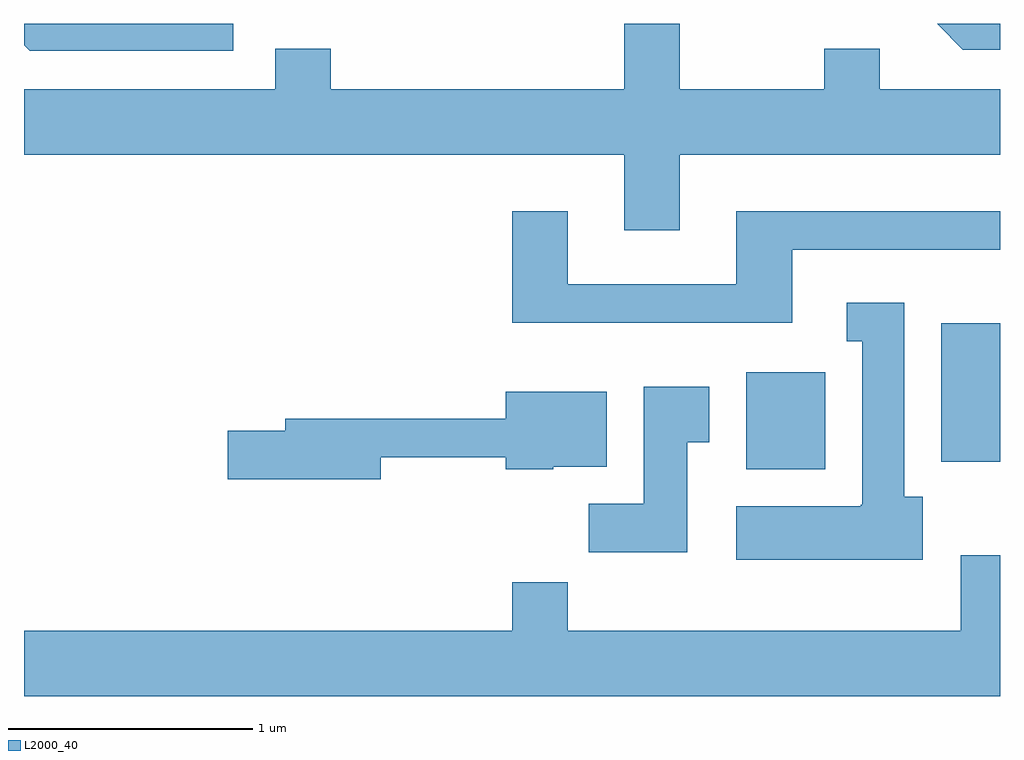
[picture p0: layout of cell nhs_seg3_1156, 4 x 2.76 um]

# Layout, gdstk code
import gdstk
lib = gdstk.Library(unit=1e-6, precision=1e-09)
def R(c, l, rs):  # rectangles x0, y0, x1, y1
    for r in rs: c.add(gdstk.rectangle(r[:2], r[2:], *l))
def P(c, l, *ps):  # polygons
    for p in ps: c.add(gdstk.Polygon(p, *l))
L2000_40 = (2000, 40)

nhs_seg3_1156 = lib.new_cell('nhs_seg3_1156')
R(nhs_seg3_1156, L2000_40, [(222.571,1118.066,222.894,1118.464), (223.371,1118.096,223.611,1118.664)])
P(nhs_seg3_1156, L2000_40, [(222.299,1119.356),(223.611,1119.356),(223.611,1119.624),(223.119,1119.624),(223.119,1119.789),(222.891,1119.789),(222.891,1119.624),(222.299,1119.624),(222.299,1119.892),(222.071,1119.892),(222.071,1119.624),(220.869,1119.624),(220.869,1119.789),(220.641,1119.789),(220.641,1119.624),(219.611,1119.624),(219.611,1119.356),(222.071,1119.356),(222.071,1119.046),(222.299,1119.046)],
  [(220.469,1119.892),(219.611,1119.892),(219.611,1119.804),(219.634,1119.781),(220.469,1119.781)],
  [(223.611,1119.892),(223.353,1119.892),(223.459,1119.786),(223.611,1119.786)],
  [(222.759,1118.966),(223.611,1118.966),(223.611,1119.124),(222.531,1119.124),(222.531,1118.824),(221.839,1118.824),(221.839,1119.124),(221.611,1119.124),(221.611,1118.666),(222.759,1118.666)],
  [(223.294,1117.954),(223.219,1117.954),(223.219,1118.749),(222.983,1118.749),(222.983,1118.591),(223.046,1118.591),(223.046,1117.92),(223.04,1117.92),(223.04,1117.914),(222.531,1117.914),(222.531,1117.696),(223.294,1117.696)],
  [(222.329,1118.176),(222.419,1118.176),(222.419,1118.404),(222.151,1118.404),(222.151,1117.924),(221.926,1117.924),(221.926,1117.726),(222.329,1117.726)],
  [(221.074,1118.116),(221.586,1118.116),(221.586,1118.066),(221.78,1118.066),(221.78,1118.076),(221.999,1118.076),(221.999,1118.384),(221.586,1118.384),(221.586,1118.274),(220.681,1118.274),(220.681,1118.224),(220.446,1118.224),(220.446,1118.026),(221.074,1118.026)],
  [(223.611,1117.714),(223.451,1117.714),(223.451,1117.404),(221.839,1117.404),(221.839,1117.604),(221.611,1117.604),(221.611,1117.404),(219.611,1117.404),(219.611,1117.136),(223.611,1117.136)])

lib.write_gds('nhs_seg3_1156.gds')
